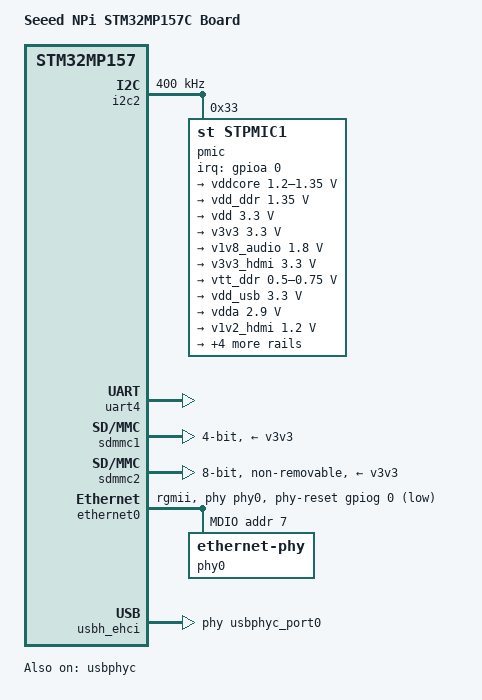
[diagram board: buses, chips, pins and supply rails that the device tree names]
// SPDX-License-Identifier: (GPL-2.0+ OR BSD-3-Clause)
/*
 * Copyright (C) STMicroelectronics 2019 - All Rights Reserved
 * Author: Alexandre Torgue <alexandre.torgue@st.com> for STMicroelectronics.
 */

/dts-v1/;

#include "stm32mp157.dtsi"
#include "stm32mp15xc.dtsi"
#include "stm32mp15-pinctrl.dtsi"
#include "stm32mp15xxac-pinctrl.dtsi"
#include <dt-bindings/gpio/gpio.h>
#include <dt-bindings/rtc/rtc-stm32.h>
#include <dt-bindings/mfd/st,stpmic1.h>

/ {
	model = "Seeed NPi STM32MP157C Board";
	compatible = "seeed,npi-stm32mp1", "st,stm32mp157";

	aliases {
		ethernet0 = &ethernet0;
		serial0 = &uart4;
		serial1 = &usart1;
		serial2 = &usart2;
		mmc0    = &sdmmc1;
		mmc1    = &sdmmc2;
		mmc2    = &sdmmc3;
		i2c0	= &i2c2;
		i2c1	= &i2c4;	/* RPi compatible */
		i2c2	= &i2c1;
	};

	chosen {
		stdout-path = "serial0:115200n8";
	};
};

&i2c2 {
	pinctrl-names = "default", "sleep";
	pinctrl-0 = <&i2c2_pins_a>;
	pinctrl-1 = <&i2c2_pins_sleep_a>;
	i2c-scl-rising-time-ns = <185>;
	i2c-scl-falling-time-ns = <20>;
	clock-frequency = <400000>;
	status = "okay";
	/delete-property/dmas;
	/delete-property/dma-names;

	pmic: stpmic@33 {
		compatible = "st,stpmic1";
		reg = <0x33>;
		interrupts-extended = <&gpioa 0 IRQ_TYPE_EDGE_FALLING>;
		interrupt-controller;
		#interrupt-cells = <2>;
		status = "okay";

		st,main-control-register = <0x04>;
		st,vin-control-register = <0xc0>;
		st,usb-control-register = <0x20>;

		regulators {
			compatible = "st,stpmic1-regulators";
			ldo1-supply = <&v3v3>;
			ldo3-supply = <&vdd_ddr>;
			ldo6-supply = <&v3v3>;
			pwr_sw1-supply = <&bst_out>;
			pwr_sw2-supply = <&bst_out>;

			vddcore: buck1 {
				regulator-name = "vddcore";
				regulator-min-microvolt = <1200000>;
				regulator-max-microvolt = <1350000>;
				regulator-always-on;
				regulator-initial-mode = <0>;
				regulator-over-current-protection;
			};

			vdd_ddr: buck2 {
				regulator-name = "vdd_ddr";
				regulator-min-microvolt = <1350000>;
				regulator-max-microvolt = <1350000>;
				regulator-always-on;
				regulator-initial-mode = <0>;
				regulator-over-current-protection;
			};

			vdd: buck3 {
				regulator-name = "vdd";
				regulator-min-microvolt = <3300000>;
				regulator-max-microvolt = <3300000>;
				regulator-always-on;
				st,mask-reset;
				regulator-initial-mode = <0>;
				regulator-over-current-protection;
			};

			v3v3: buck4 {
				regulator-name = "v3v3";
				regulator-min-microvolt = <3300000>;
				regulator-max-microvolt = <3300000>;
				regulator-always-on;
				regulator-over-current-protection;
				regulator-initial-mode = <0>;
			};

			v1v8_audio: ldo1 {
				regulator-name = "v1v8_audio";
				regulator-min-microvolt = <1800000>;
				regulator-max-microvolt = <1800000>;
				regulator-always-on;
				interrupts = <IT_CURLIM_LDO1 0>;
			};

			v3v3_hdmi: ldo2 {
				regulator-name = "v3v3_hdmi";
				regulator-min-microvolt = <3300000>;
				regulator-max-microvolt = <3300000>;
				regulator-always-on;
				interrupts = <IT_CURLIM_LDO2 0>;

			};

			vtt_ddr: ldo3 {
				regulator-name = "vtt_ddr";
				regulator-min-microvolt = <500000>;
				regulator-max-microvolt = <750000>;
				regulator-always-on;
				regulator-over-current-protection;
			};

			vdd_usb: ldo4 {
				regulator-name = "vdd_usb";
				regulator-min-microvolt = <3300000>;
				regulator-max-microvolt = <3300000>;
				interrupts = <IT_CURLIM_LDO4 0>;
			};

			vdda: ldo5 {
				regulator-name = "vdda";
				regulator-min-microvolt = <2900000>;
				regulator-max-microvolt = <2900000>;
				interrupts = <IT_CURLIM_LDO5 0>;
				regulator-boot-on;
			};

			v1v2_hdmi: ldo6 {
				regulator-name = "v1v2_hdmi";
				regulator-min-microvolt = <1200000>;
				regulator-max-microvolt = <1200000>;
				regulator-always-on;
				interrupts = <IT_CURLIM_LDO6 0>;

			};

			vref_ddr: vref_ddr {
				regulator-name = "vref_ddr";
				regulator-always-on;
				regulator-over-current-protection;
			};

			bst_out: boost {
				regulator-name = "bst_out";
				interrupts = <IT_OCP_BOOST 0>;
			};

			vbus_otg: pwr_sw1 {
				regulator-name = "vbus_otg";
				interrupts = <IT_OCP_OTG 0>;
				regulator-active-discharge;
			};

			vbus_sw: pwr_sw2 {
				regulator-name = "vbus_sw";
				interrupts = <IT_OCP_SWOUT 0>;
				regulator-active-discharge;
			};
		};

		onkey {
			compatible = "st,stpmic1-onkey";
			interrupts = <IT_PONKEY_F 0>, <IT_PONKEY_R 1>;
			interrupt-names = "onkey-falling", "onkey-rising";
			power-off-time-sec = <5>;
			st,onkey-clear-cc-flag;
			status = "okay";
		};

		watchdog {
			compatible = "st,stpmic1-wdt";
			status = "disabled";
		};
	};
};

&uart4 {
	pinctrl-names = "default", "sleep", "idle", "no_console_suspend";
	pinctrl-0 = <&uart4_pins_a>;
	pinctrl-1 = <&uart4_sleep_pins_a>;
	pinctrl-2 = <&uart4_idle_pins_a>;
	pinctrl-3 = <&uart4_pins_a>;
	status = "okay";
};

&sdmmc1 {
	pinctrl-names = "default", "opendrain", "sleep";
	pinctrl-0 = <&sdmmc1_b4_pins_a>;
	pinctrl-1 = <&sdmmc1_b4_od_pins_a>;
	pinctrl-2 = <&sdmmc1_b4_sleep_pins_a>;
	broken-cd;
	st,neg-edge;
	bus-width = <4>;
	vmmc-supply = <&v3v3>;
	status = "okay";
};

&sdmmc2 {
	pinctrl-names = "default", "opendrain", "sleep";
	pinctrl-0 = <&sdmmc2_b4_pins_a &sdmmc2_d47_pins_s>;
	pinctrl-1 = <&sdmmc2_b4_od_pins_a &sdmmc2_d47_pins_s>;
	pinctrl-2 = <&sdmmc2_b4_sleep_pins_a &sdmmc2_d47_sleep_pins_s>;
	non-removable;
	broken-cd;
	st,neg-edge;
	bus-width = <8>;
	vmmc-supply = <&v3v3>;
	status = "okay";
};

&ethernet0 {
	status = "okay";
	pinctrl-0 = <&ethernet0_rgmii_pins_a>;
	pinctrl-1 = <&ethernet0_rgmii_pins_sleep_a>;
	pinctrl-names = "default", "sleep";
	clock-names = "stmmaceth",
		      "mac-clk-tx",
		      "mac-clk-rx",
		      "ethstp",
		      "eth-ck";
	clocks = <&rcc ETHMAC>,
		 <&rcc ETHTX>,
		 <&rcc ETHRX>,
		 <&rcc ETHSTP>,
		 <&rcc ETHCK_K>;
	assigned-clocks = <&rcc ETHCK_K>;
	assigned-clock-parents = <&rcc PLL4_P>;
	assigned-clock-rates = <125000000>;
	phy-mode = "rgmii";
	max-speed = <1000>;
	phy-handle = <&phy0>;
	phy-reset-gpios = <&gpiog 0 GPIO_ACTIVE_LOW>;
	st,eth-clk-sel;

	mdio0 {
		#address-cells = <1>;
		#size-cells = <0>;
		compatible = "snps,dwmac-mdio";

		phy0: ethernet-phy@7 {
			reg = <7>;
		};
	};
};

&usbh_ehci {
	phys = <&usbphyc_port0>, <&usbphyc_port1 1>;
	phy-names = "usb", "usb2";
	status = "okay";
};

&usbphyc {
	status = "okay";
};

&usbphyc_port0 {
	phy-supply = <&vdd_usb>;
	vdda1v1-supply = <&reg11>;
	vdda1v8-supply = <&reg18>;
};

&usbphyc_port1 {
	phy-supply = <&vdd_usb>;
	vdda1v1-supply = <&reg11>;
	vdda1v8-supply = <&reg18>;
};
